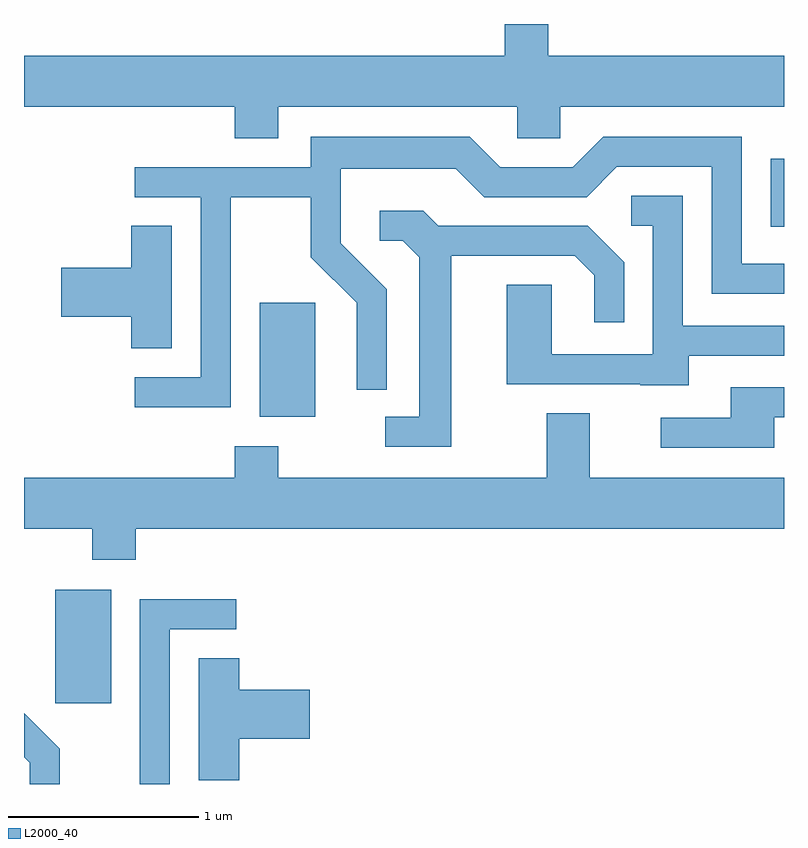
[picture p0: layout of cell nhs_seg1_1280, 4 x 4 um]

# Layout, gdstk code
import gdstk
lib = gdstk.Library(unit=1e-6, precision=1e-09)
def R(c, l, rs):  # rectangles x0, y0, x1, y1
    for r in rs: c.add(gdstk.rectangle(r[:2], r[2:], *l))
def P(c, l, *ps):  # polygons
    for p in ps: c.add(gdstk.Polygon(p, *l))
L2000_40 = (2000, 40)

nhs_seg1_1280 = lib.new_cell('nhs_seg1_1280')
R(nhs_seg1_1280, L2000_40, [(223.776,974.136,224.069,974.734), (224.851,975.646,225.144,976.244), (227.541,976.646,227.611,977.003)])
P(nhs_seg1_1280, L2000_40, [(224.949,977.276),(226.206,977.276),(226.206,977.111),(226.434,977.111),(226.434,977.276),(227.611,977.276),(227.611,977.544),(226.369,977.544),(226.369,977.712),(226.141,977.712),(226.141,977.544),(223.611,977.544),(223.611,977.276),(224.721,977.276),(224.721,977.111),(224.949,977.111)],
  [(224.699,976.801),(225.121,976.801),(225.121,976.484),(225.361,976.244),(225.361,975.788),(225.519,975.788),(225.519,976.317),(225.279,976.557),(225.279,976.951),(225.884,976.951),(226.034,976.801),(226.572,976.801),(226.732,976.961),(227.231,976.961),(227.231,976.291),(227.611,976.291),(227.611,976.449),(227.389,976.449),(227.389,977.119),(226.659,977.119),(226.499,976.959),(226.117,976.959),(225.957,977.119),(225.121,977.119),(225.121,976.959),(224.193,976.959),(224.193,976.801),(224.541,976.801),(224.541,975.854),(224.193,975.854),(224.193,975.696),(224.699,975.696)],
  [(227.109,975.966),(227.611,975.966),(227.611,976.124),(227.079,976.124),(227.079,976.809),(226.808,976.809),(226.808,976.651),(226.921,976.651),(226.921,975.974),(226.389,975.974),(226.389,976.339),(226.151,976.339),(226.151,975.816),(226.855,975.816),(226.855,975.811),(227.109,975.811)],
  [(225.859,976.491),(226.509,976.491),(226.611,976.389),(226.611,976.143),(226.769,976.143),(226.769,976.457),(226.577,976.649),(225.792,976.649),(225.712,976.729),(225.483,976.729),(225.483,976.571),(225.604,976.571),(225.691,976.484),(225.691,975.644),(225.513,975.644),(225.513,975.486),(225.859,975.486)],
  [(224.389,976.649),(224.176,976.649),(224.176,976.429),(223.806,976.429),(223.806,976.171),(224.176,976.171),(224.176,976.006),(224.389,976.006)],
  [(227.559,975.641),(227.611,975.641),(227.611,975.799),(227.331,975.799),(227.331,975.639),(226.963,975.639),(226.963,975.481),(227.559,975.481)],
  [(224.199,975.056),(227.611,975.056),(227.611,975.324),(226.589,975.324),(226.589,975.664),(226.361,975.664),(226.361,975.324),(224.949,975.324),(224.949,975.489),(224.721,975.489),(224.721,975.324),(223.611,975.324),(223.611,975.056),(223.971,975.056),(223.971,974.891),(224.199,974.891)],
  [(224.379,974.526),(224.728,974.526),(224.728,974.684),(224.221,974.684),(224.221,973.712),(224.379,973.712)],
  [(224.744,973.951),(225.114,973.951),(225.114,974.209),(224.744,974.209),(224.744,974.374),(224.531,974.374),(224.531,973.731),(224.744,973.731)],
  [(223.799,973.897),(223.611,974.085),(223.611,973.854),(223.641,973.824),(223.641,973.712),(223.799,973.712)])

lib.write_gds('nhs_seg1_1280.gds')
